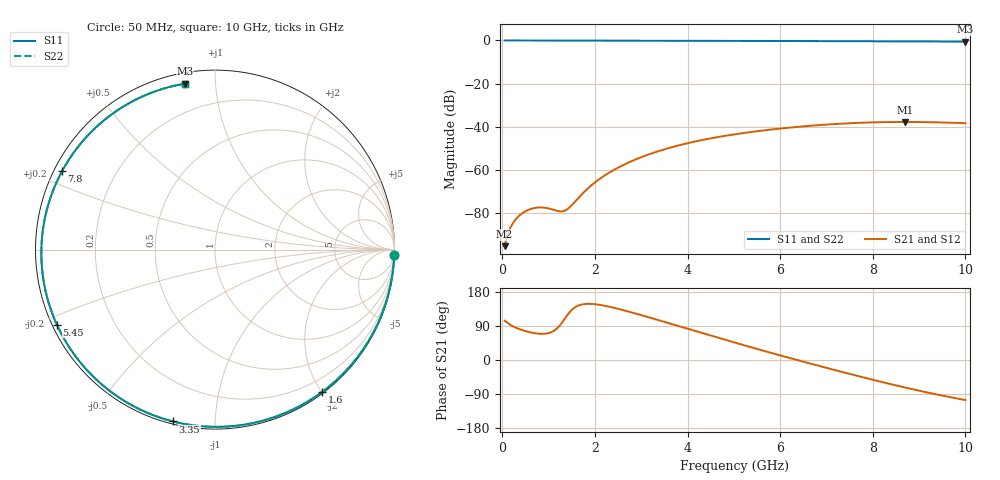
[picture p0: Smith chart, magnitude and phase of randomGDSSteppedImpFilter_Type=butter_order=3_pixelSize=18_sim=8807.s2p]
! freq	dB(S11)	phase(S11)	dB(S12)	phase(S12)
!  dB(S21)	phase(S21)	dB(S22)	phase(S22)
!S-par simulation data
#  GHz  S  DB  R 50
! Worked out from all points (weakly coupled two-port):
!   200 points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, 50 MHz to 10 GHz, reference 50 ohm
!   highest |S21| = -37.79 dB at 8.7 GHz (marker M1); lowest = -95.4 dB at 50 MHz (marker M2)
!   lowest |S11| = -0.5 dB at 10 GHz (marker M3), VSWR 32.03, Z = 2.65 + j41.7 ohm
!   |S11| at or under -10 dB: nowhere
!   |S22| runs from -0.5 to 0.0 dB; largest |S21 - S12| = 0
!   S11 on the Smith chart (normalised r, x): 50 MHz: 1, -69; 1.6 GHz: 0.02, -2.00; 3.35 GHz: 0.01, -0.78; 5.45 GHz: 0.01, -0.22; 7.8 GHz: 0.02, +0.24; 10 GHz: 0.05, +0.83
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0.05  -0.00 -1.7  -95.39 103.8  -95.39 103.8  -0.00 -1.7
0.45  -0.02 -15.3  -79.85 78.1  -79.85 78.1  -0.02 -15.3
0.8  -0.03 -27.1  -77.44 69.2  -77.44 69.2  -0.03 -27.1
1.3  -0.05 -43.6  -79.24 100.5  -79.24 100.5  -0.05 -43.6
1.4  -0.06 -46.8  -78.31 117.8  -78.31 117.8  -0.06 -46.8
1.6  -0.07 -53.1  -74.04 141.1  -74.04 141.1  -0.07 -53.1
1.75  -0.07 -57.8  -70.61 147.2  -70.61 147.2  -0.07 -57.8
2.05  -0.08 -67.0  -65.02 146.5  -65.02 146.5  -0.08 -67.0
2.4  -0.09 -77.4  -60.15 138.1  -60.15 138.1  -0.09 -77.4
2.85  -0.11 -90.2  -55.44 123.6  -55.44 123.6  -0.11 -90.2
3.35  -0.13 -103.7  -51.49 106.0  -51.49 106.0  -0.13 -103.7
3.4  -0.13 -105.1  -51.15 104.2  -51.15 104.2  -0.13 -105.1
4.25  -0.16 -126.6  -46.46 73.4  -46.46 73.4  -0.16 -126.6
5.05  -0.20 -145.5  -43.42 44.8  -43.42 44.8  -0.20 -145.5
5.45  -0.22 -154.6  -42.23 30.9  -42.23 30.9  -0.22 -154.7
6.05  -0.25 -168.1  -40.75 10.5  -40.75 10.5  -0.25 -168.1
6.7  -0.30 177.5  -39.48 -11.0  -39.48 -11.0  -0.30 177.5
7.8  -0.38 152.9  -38.12 -46.0  -38.12 -46.0  -0.38 152.9
8.35  -0.42 140.3  -37.83 -62.6  -37.83 -62.6  -0.42 140.3
8.7  -0.45 132.1  -37.79 -72.7  -37.79 -72.7  -0.45 132.1
9.35  -0.50 116.5  -37.95 -90.2  -37.95 -90.2  -0.50 116.5
10  -0.54 100.3  -38.37 -105.7  -38.37 -105.7  -0.54 100.3
